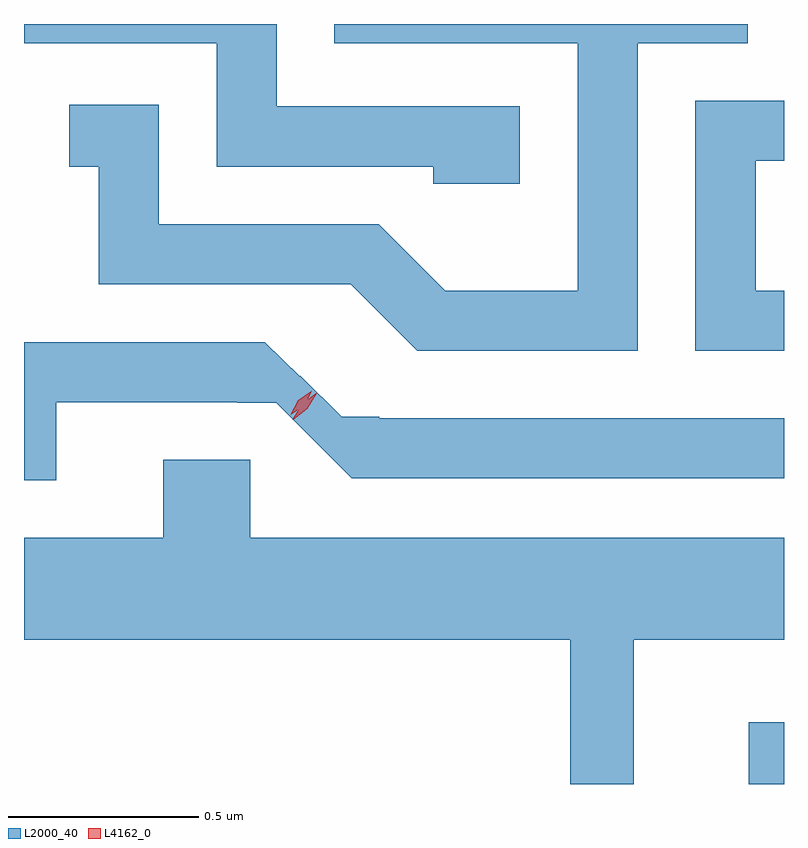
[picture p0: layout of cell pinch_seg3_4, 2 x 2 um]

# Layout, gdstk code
import gdstk
lib = gdstk.Library(unit=1e-6, precision=1e-09)
def R(c, l, rs):  # rectangles x0, y0, x1, y1
    for r in rs: c.add(gdstk.rectangle(r[:2], r[2:], *l))
def P(c, l, *ps):  # polygons
    for p in ps: c.add(gdstk.Polygon(p, *l))
L2000_40 = (2000, 40)
L4162_0 = (4162, 0)

pinch_seg3_4 = lib.new_cell('pinch_seg3_4')
R(pinch_seg3_4, L2000_40, [(832.981,1187.796,833.074,1187.958)])
P(pinch_seg3_4, L2000_40, [(832.689,1189.746),(832.979,1189.746),(832.979,1189.796),(831.891,1189.796),(831.891,1189.746),(832.531,1189.746),(832.531,1189.094),(832.182,1189.094),(832.007,1189.269),(831.429,1189.269),(831.429,1189.584),(831.193,1189.584),(831.193,1189.421),(831.271,1189.421),(831.271,1189.111),(831.934,1189.111),(832.109,1188.936),(832.689,1188.936)],
  [(832.379,1189.579),(831.739,1189.579),(831.739,1189.796),(831.074,1189.796),(831.074,1189.746),(831.581,1189.746),(831.581,1189.421),(832.151,1189.421),(832.151,1189.376),(832.379,1189.376)],
  [(833.074,1189.094),(832.999,1189.094),(832.999,1189.436),(833.074,1189.436),(833.074,1189.594),(832.841,1189.594),(832.841,1188.936),(833.074,1188.936)],
  [(831.159,1188.801),(831.635,1188.801),(831.635,1188.799),(831.738,1188.799),(831.936,1188.601),(833.074,1188.601),(833.074,1188.759),(832.009,1188.759),(832.009,1188.763),(831.91,1188.763),(831.801,1188.871),(831.799,1188.869),(831.708,1188.959),(831.074,1188.959),(831.074,1188.596),(831.159,1188.596)],
  [(832.679,1188.176),(833.074,1188.176),(833.074,1188.444),(831.669,1188.444),(831.669,1188.649),(831.441,1188.649),(831.441,1188.444),(831.074,1188.444),(831.074,1188.176),(832.511,1188.176),(832.511,1187.796),(832.679,1187.796)])
P(pinch_seg3_4, L4162_0, [(831.781,1188.755),(831.781,1188.756),(831.806,1188.797),(831.844,1188.825),(831.845,1188.825),(831.845,1188.824),(831.82,1188.783),(831.782,1188.755)],
  [(831.776,1188.768),(831.776,1188.769),(831.796,1188.806),(831.83,1188.83),(831.831,1188.83),(831.831,1188.829),(831.811,1188.792),(831.776,1188.768)])

lib.write_gds('pinch_seg3_4.gds')
